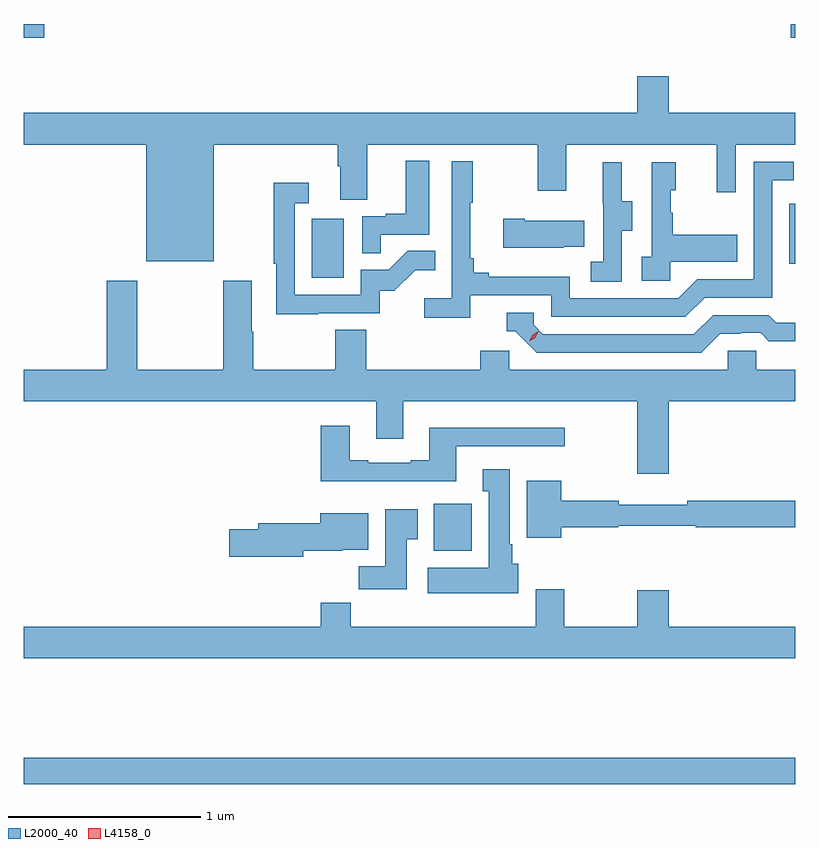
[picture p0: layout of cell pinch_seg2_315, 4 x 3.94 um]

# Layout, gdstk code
import gdstk
lib = gdstk.Library(unit=1e-6, precision=1e-09)
def R(c, l, rs):  # rectangles x0, y0, x1, y1
    for r in rs: c.add(gdstk.rectangle(r[:2], r[2:], *l))
def P(c, l, *ps):  # polygons
    for p in ps: c.add(gdstk.Polygon(p, *l))
L2000_40 = (2000, 40)
L4158_0 = (4158, 0)

pinch_seg2_315 = lib.new_cell('pinch_seg2_315')
R(pinch_seg2_315, L2000_40, [(941.048,624.34,945.048,624.476), (943.175,625.55,943.372,625.792), (942.542,626.964,942.706,627.271), (945.018,627.039,945.048,627.348), (941.048,628.209,941.153,628.281), (945.026,628.209,945.048,628.281)])
P(pinch_seg2_315, L2000_40, [(942.034,627.656),(942.677,627.656),(942.677,627.544),(942.689,627.544),(942.689,627.37),(942.829,627.37),(942.829,627.656),(943.714,627.656),(943.714,627.417),(943.861,627.417),(943.861,627.656),(944.642,627.656),(944.642,627.408),(944.739,627.408),(944.739,627.656),(945.048,627.656),(945.048,627.82),(944.392,627.82),(944.392,628.009),(944.228,628.009),(944.228,627.82),(941.048,627.82),(941.048,627.656),(941.684,627.656),(941.684,627.05),(942.034,627.05)],
  [(942.899,627.189),(943.15,627.189),(943.15,627.571),(943.028,627.571),(943.028,627.298),(942.925,627.298),(942.925,627.285),(942.804,627.285),(942.804,627.091),(942.899,627.091)],
  [(943.364,626.874),(943.782,626.874),(943.782,626.763),(944.479,626.763),(944.578,626.862),(944.928,626.862),(944.928,627.471),(945.041,627.471),(945.041,627.567),(944.832,627.567),(944.832,626.958),(944.541,626.958),(944.442,626.859),(943.878,626.859),(943.878,626.971),(943.459,626.971),(943.459,626.99),(943.382,626.99),(943.382,627.067),(943.363,627.067),(943.363,627.355),(943.375,627.355),(943.375,627.568),(943.266,627.568),(943.266,626.86),(943.125,626.86),(943.125,626.758),(943.364,626.758)],
  [(944.148,627.208),(944.203,627.208),(944.203,627.363),(944.149,627.363),(944.149,627.565),(944.051,627.565),(944.051,627.351),(944.052,627.351),(944.052,627.047),(943.989,627.047),(943.989,626.944),(944.148,626.944)],
  [(944.4,627.047),(944.747,627.047),(944.747,627.187),(944.413,627.187),(944.413,627.302),(944.403,627.302),(944.403,627.42),(944.428,627.42),(944.428,627.565),(944.304,627.565),(944.304,627.074),(944.253,627.074),(944.253,626.949),(944.4,626.949)],
  [(942.575,626.781),(942.894,626.781),(942.894,626.898),(942.97,626.898),(943.077,627.005),(943.181,627.005),(943.181,627.104),(943.038,627.104),(942.94,627.006),(942.795,627.006),(942.795,626.877),(942.453,626.877),(942.453,627.351),(942.526,627.351),(942.526,627.457),(942.345,627.457),(942.345,627.037),(942.357,627.037),(942.357,626.776),(942.575,626.776)],
  [(943.847,627.125),(943.955,627.125),(943.955,627.262),(943.645,627.262),(943.645,627.27),(943.533,627.27),(943.533,627.122),(943.847,627.122)],
  [(944.392,626.324),(945.048,626.324),(945.048,626.488),(944.847,626.488),(944.847,626.586),(944.697,626.586),(944.697,626.488),(943.566,626.488),(943.566,626.586),(943.415,626.586),(943.415,626.488),(942.824,626.488),(942.824,626.696),(942.664,626.696),(942.664,626.488),(942.237,626.488),(942.237,626.684),(942.229,626.684),(942.229,626.95),(942.082,626.95),(942.082,626.488),(941.637,626.488),(941.637,626.95),(941.477,626.95),(941.477,626.488),(941.048,626.488),(941.048,626.324),(942.875,626.324),(942.875,626.13),(943.015,626.13),(943.015,626.324),(944.228,626.324),(944.228,625.95),(944.392,625.95)],
  [(944.659,626.676),(944.766,626.676),(944.766,626.679),(944.869,626.679),(944.911,626.637),(945.048,626.637),(945.048,626.733),(944.95,626.733),(944.911,626.772),(944.622,626.772),(944.523,626.673),(943.74,626.673),(943.692,626.721),(943.692,626.784),(943.553,626.784),(943.553,626.688),(943.596,626.688),(943.707,626.577),(944.56,626.577)],
  [(943.291,626.091),(943.852,626.091),(943.852,626.188),(943.151,626.188),(943.151,626.02),(943.055,626.02),(943.055,626.007),(942.835,626.007),(942.835,626.02),(942.739,626.02),(942.739,626.197),(942.587,626.197),(942.587,625.91),(943.291,625.91)],
  [(943.612,625.482),(943.582,625.482),(943.582,625.582),(943.567,625.582),(943.567,625.972),(943.427,625.972),(943.427,625.859),(943.46,625.859),(943.46,625.462),(943.143,625.462),(943.143,625.328),(943.612,625.328)],
  [(943.834,625.672),(944.13,625.672),(944.13,625.68),(944.532,625.68),(944.532,625.672),(945.048,625.672),(945.048,625.808),(944.488,625.808),(944.488,625.789),(944.132,625.789),(944.132,625.808),(943.834,625.808),(943.834,625.912),(943.655,625.912),(943.655,625.616),(943.834,625.616)],
  [(943.033,625.609),(943.09,625.609),(943.09,625.765),(942.923,625.765),(942.923,625.468),(942.784,625.468),(942.784,625.35),(943.033,625.35)],
  [(942.498,625.55),(942.702,625.55),(942.702,625.556),(942.835,625.556),(942.835,625.744),(942.584,625.744),(942.584,625.691),(942.263,625.691),(942.263,625.661),(942.114,625.661),(942.114,625.519),(942.498,625.519)],
  [(945.048,625.156),(944.392,625.156),(944.392,625.345),(944.228,625.345),(944.228,625.156),(943.851,625.156),(943.851,625.351),(943.703,625.351),(943.703,625.156),(942.743,625.156),(942.743,625.28),(942.587,625.28),(942.587,625.156),(941.048,625.156),(941.048,624.992),(945.048,624.992)])
P(pinch_seg2_315, L4158_0, [(943.668,626.636),(943.668,626.636),(943.684,626.668),(943.715,626.688),(943.716,626.688),(943.716,626.688),(943.699,626.655),(943.668,626.636)])

lib.write_gds('pinch_seg2_315.gds')
